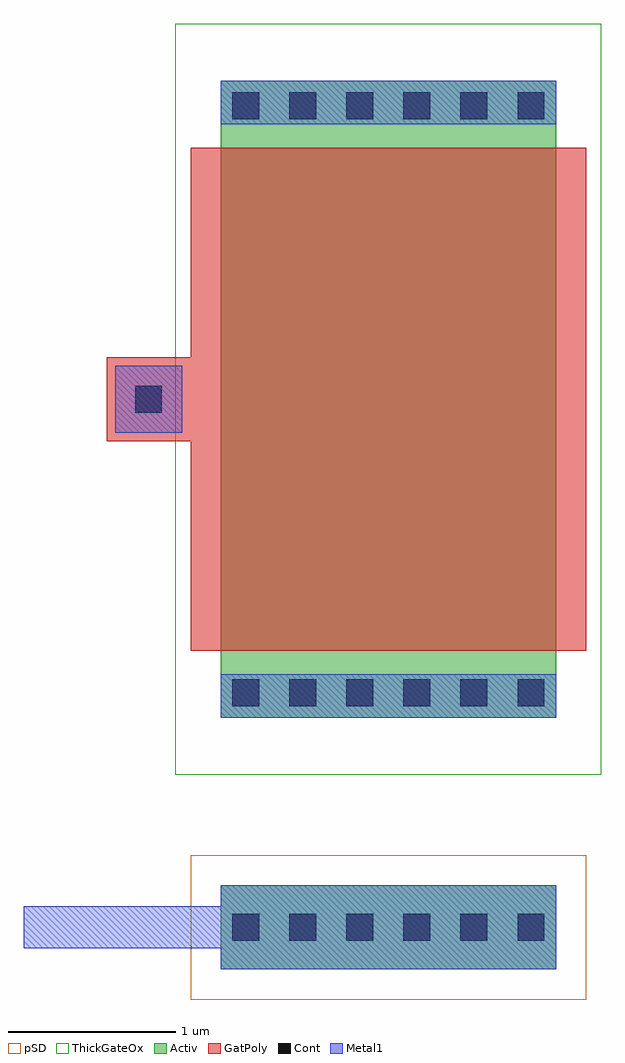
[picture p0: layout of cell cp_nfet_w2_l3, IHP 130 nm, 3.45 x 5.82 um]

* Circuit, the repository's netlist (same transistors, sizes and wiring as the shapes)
* extracted by klt extract --deck sg13cmos5l

* cell cp_nfet_w2_l3
* pin vsubs
.SUBCKT cp_nfet_w2_l3 vsubs
* device instance $1 r0 *1 2.3,4.36 nfet
X$1 \$2 \$1 \$3 vsubs sg13_hv_nmos L=3U W=2U AS=0.8P AD=0.8P PS=4.8U PD=4.8U
.ENDS cp_nfet_w2_l3

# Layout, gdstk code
import gdstk
lib = gdstk.Library(unit=1e-6, precision=1e-09)
def R(c, l, rs):  # rectangles x0, y0, x1, y1
    for r in rs: c.add(gdstk.rectangle(r[:2], r[2:], *l))
def A(c, l, x, y, w, h, nx, ny, dx, dy):  # array of equal rectangles
    R(c, l, [(x+i*dx, y+j*dy, x+i*dx+w, y+j*dy+h) for i in range(nx) for j in range(ny)])
Activ = (1, 0)
GatPoly = (5, 0)
Cont = (6, 0)
Metal1 = (8, 0)
pSD = (14, 0)
ThickGateOx = (44, 0)

cp_nfet_w2_l3 = lib.new_cell('cp_nfet_w2_l3')
R(cp_nfet_w2_l3, Activ, [(1.3,0.96,3.3,1.46), (1.3,2.46,3.3,6.26)])
R(cp_nfet_w2_l3, GatPoly, [(1.12,2.86,3.48,5.86), (0.62,4.11,1.12,4.61)])
A(cp_nfet_w2_l3, Cont, 1.37, 1.13, 0.16, 0.16, 6, 2, 0.34, 1.4)
A(cp_nfet_w2_l3, Cont, 1.37, 6.03, 0.16, 0.16, 6, 1, 0.34, 0)
R(cp_nfet_w2_l3, Cont, [(0.79,4.28,0.95,4.44)])
R(cp_nfet_w2_l3, Metal1, [(1.3,0.96,3.3,1.46), (0.125,1.085,1.3,1.335), (1.3,2.46,3.3,2.72), (0.67,4.16,1.07,4.56), (1.3,6,3.3,6.26)])
R(cp_nfet_w2_l3, pSD, [(1.12,0.78,3.48,1.64)])
R(cp_nfet_w2_l3, ThickGateOx, [(1.03,2.12,3.57,6.6)])

lib.write_gds('cp_nfet_w2_l3.gds')
